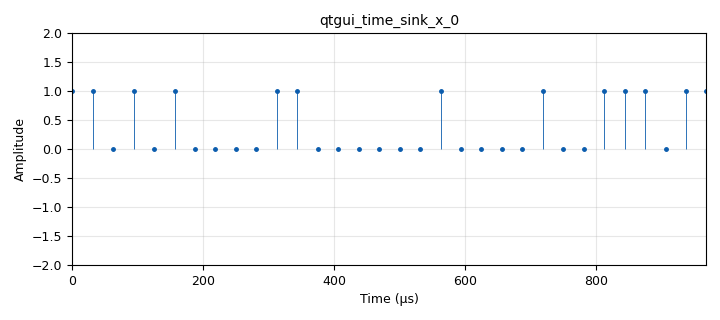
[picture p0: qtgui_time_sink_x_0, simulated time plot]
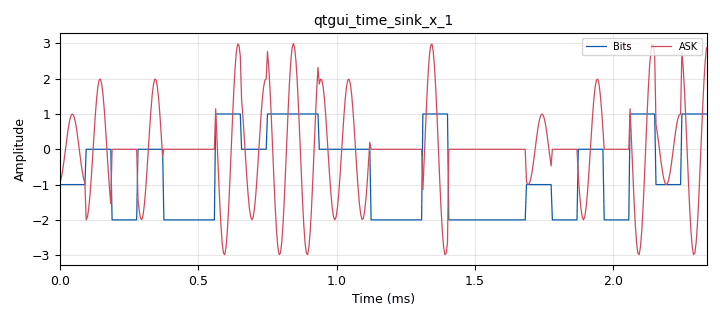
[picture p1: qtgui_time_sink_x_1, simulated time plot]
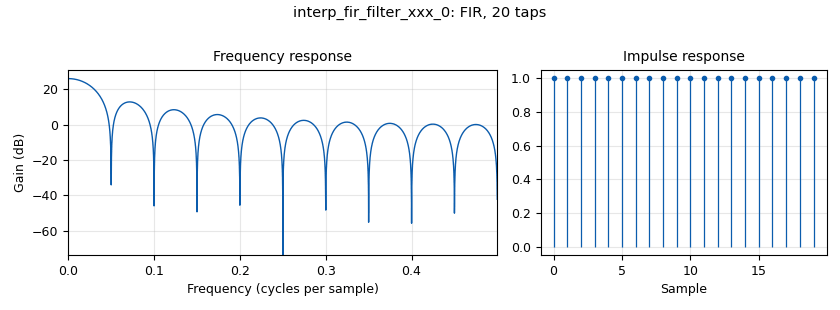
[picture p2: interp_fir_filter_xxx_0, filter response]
options:
  parameters:
    author: Juan David Barrero
    generate_options: qt_gui
    id: ASK_sim
    output_language: python
    title: ASK simulación
  states: {}

blocks:
- name: M
  id: variable
  parameters:
    value: '4'
  states: {}
- name: Nbs
  id: variable
  parameters:
    value: int(math.log(M,2))
  states: {}
- name: Rb
  id: variable
  parameters:
    value: '32000'
  states: {}
- name: Rs
  id: variable
  parameters:
    value: Rb/3
  states: {}
- name: Sps
  id: variable
  parameters:
    value: len(h)
  states: {}
- name: h
  id: variable
  parameters:
    value: (1,1,1,1,1,1,1,1,1,1,1,1,1,1,1,1,1,1,1,1)
  states: {}
- name: samp_rate
  id: variable
  parameters:
    value: Rs*Sps
  states: {}
- name: analog_random_source_x_0
  id: analog_random_source_x
  parameters:
    max: '2'
    min: '0'
    num_samps: '1000'
    repeat: 'True'
    type: byte
  states: {}
- name: analog_sig_source_x_0
  id: analog_sig_source_x
  parameters:
    amp: '1'
    freq: 10e3
    offset: '0'
    phase: '0'
    samp_rate: samp_rate
    type: float
    waveform: analog.GR_COS_WAVE
  states: {}
- name: blocks_add_const_vxx_0
  id: blocks_add_const_vxx
  parameters:
    const: '-M/2'
    type: float
  states: {}
- name: blocks_char_to_float_0
  id: blocks_char_to_float
  parameters:
    scale: '1'
  states: {}
- name: blocks_char_to_float_0_0
  id: blocks_char_to_float
  parameters:
    scale: '1'
  states: {}
- name: blocks_multiply_xx_0
  id: blocks_multiply_xx
  parameters:
    type: float
  states: {}
- name: blocks_repack_bits_bb_0
  id: blocks_repack_bits_bb
  parameters:
    endianness: gr.GR_LSB_FIRST
    k: '1'
    l: Nbs
  states: {}
- name: import_0
  id: import
  parameters:
    imports: import math
  states: {}
- name: interp_fir_filter_xxx_0
  id: interp_fir_filter_xxx
  parameters:
    interp: Sps
    taps: h
    type: fff
  states: {}
- name: qtgui_time_sink_x_0
  id: qtgui_time_sink_x
  parameters:
    marker1: '0'
    size: '32'
    srate: Rb
    stemplot: 'True'
    type: float
    ymax: '2'
    ymin: '-2'
  states: {}
- name: qtgui_time_sink_x_1
  id: qtgui_time_sink_x
  parameters:
    autoscale: 'True'
    entags: 'False'
    label1: Bits
    label2: ASK
    nconnections: '2'
    size: '500'
    srate: samp_rate
    type: float
    width1: '2'
    width2: '3'
  states: {}
- name: virtual_sink_0_0
  id: virtual_sink
  parameters:
    stream_id: Tx
  states: {}
- name: virtual_source_0_0
  id: virtual_source
  parameters:
    stream_id: Tx
  states: {}

connections:
- [analog_random_source_x_0, '0', blocks_char_to_float_0, '0']
- [analog_random_source_x_0, '0', blocks_repack_bits_bb_0, '0']
- [analog_sig_source_x_0, '0', blocks_multiply_xx_0, '1']
- [blocks_add_const_vxx_0, '0', qtgui_time_sink_x_1, '0']
- [blocks_char_to_float_0, '0', qtgui_time_sink_x_0, '0']
- [blocks_char_to_float_0_0, '0', interp_fir_filter_xxx_0, '0']
- [blocks_multiply_xx_0, '0', qtgui_time_sink_x_1, '1']
- [blocks_repack_bits_bb_0, '0', blocks_char_to_float_0_0, '0']
- [interp_fir_filter_xxx_0, '0', blocks_multiply_xx_0, '0']
- [interp_fir_filter_xxx_0, '0', virtual_sink_0_0, '0']
- [virtual_source_0_0, '0', blocks_add_const_vxx_0, '0']

metadata:
  file_format: 1
